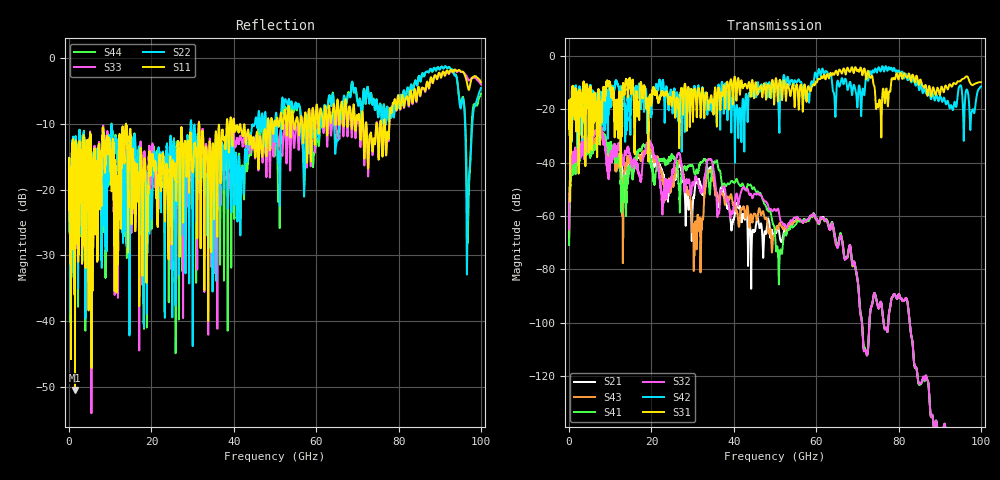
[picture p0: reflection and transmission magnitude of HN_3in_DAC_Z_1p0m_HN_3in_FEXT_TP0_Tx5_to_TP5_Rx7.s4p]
# GHz S RI R 45
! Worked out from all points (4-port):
!   4000 points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, 25 MHz to 100 GHz, reference 45 ohm
!   strongest paths, dB at 25 MHz, 25.02 GHz, 50.02 GHz, 75.03 GHz, 100 GHz:
!     S31: -18.6, -17.7, -10.8, -19.3, -9.9
!     S42: -18.6, -16.6, -12.4, -4.6, -11.5
!     S32: -65.0, -43.3, -57.6, -94.2, -
!     S41: -70.8, -37.3, -67.0, -94.3, -
!     S43: -67.7, -45.4, -66.6, -94.2, -
!     S21: -67.9, -46.8, -66.3, -94.2, -
!   lowest |S11| = -50.5 dB at 1.45 GHz (marker M1), VSWR 1.01, Z = 44.8 - j0.113 ohm
!   |S11| at or under -10 dB: start of sweep to 13.85 GHz; 13.86 GHz to 31.52 GHz (17.66 GHz wide, 77.8 % of centre); 40.11 GHz to 48.2 GHz (8.094 GHz wide, 18.3 % of centre)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
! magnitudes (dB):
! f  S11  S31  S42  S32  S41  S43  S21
! 25 MHz  -16.4  -18.6  -18.6  -65.0  -70.8  -67.7  -67.9
! 1.45 GHz  -50.5  -24.0  -19.0  -34.7  -37.4  -35.8  -36.1
! 26.9 GHz  -28.2  -23.1  -14.5  -36.9  -58.7  -39.2  -40.4
! 30.57 GHz  -13.1  -12.8  -11.7  -46.0  -44.5  -64.0  -49.3
! 34.02 GHz  -13.9  -17.0  -18.7  -38.7  -49.6  -43.2  -42.2
! 43.9 GHz  -12.9  -11.4  -14.5  -51.9  -48.4  -62.5  -62.6
! 100 GHz  -3.6  -9.9  -11.5  -  -  -  -
